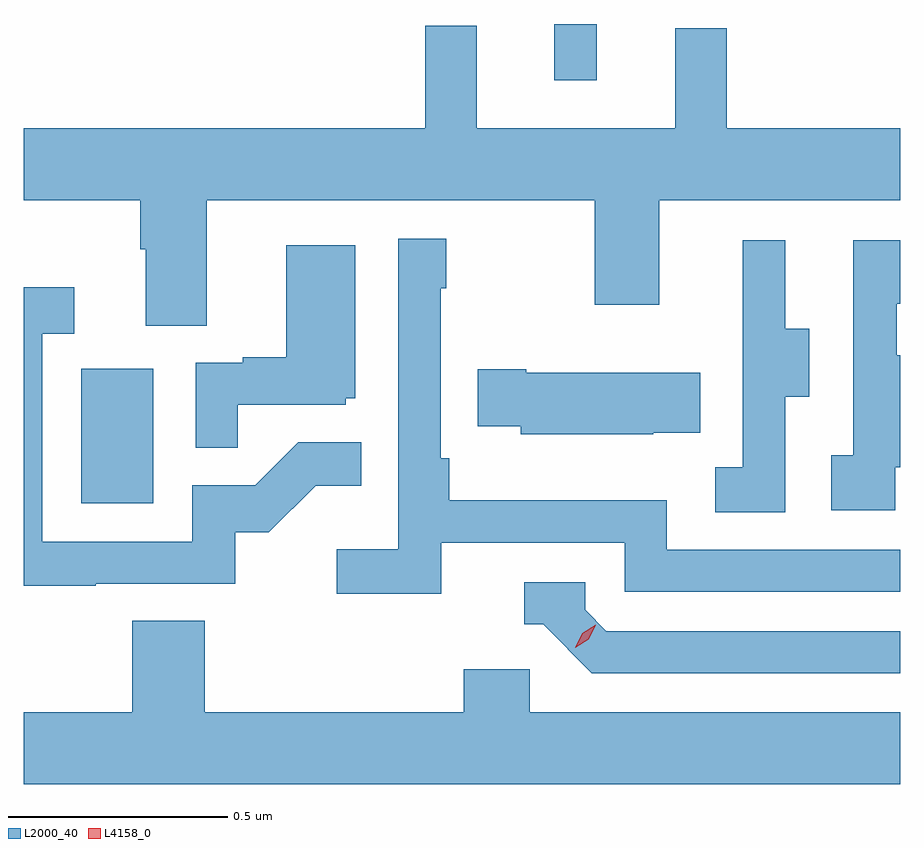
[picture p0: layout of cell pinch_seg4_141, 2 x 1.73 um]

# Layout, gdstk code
import gdstk
lib = gdstk.Library(unit=1e-6, precision=1e-09)
def R(c, l, rs):  # rectangles x0, y0, x1, y1
    for r in rs: c.add(gdstk.rectangle(r[:2], r[2:], *l))
def P(c, l, *ps):  # polygons
    for p in ps: c.add(gdstk.Polygon(p, *l))
L2000_40 = (2000, 40)
L4158_0 = (4158, 0)

pinch_seg4_141 = lib.new_cell('pinch_seg4_141')
R(pinch_seg4_141, L2000_40, [(1106.156,810.78,1106.32,811.087), (1107.236,811.746,1107.333,811.874)])
P(pinch_seg4_141, L2000_40, [(1106.443,811.472),(1107.328,811.472),(1107.328,811.233),(1107.475,811.233),(1107.475,811.472),(1108.025,811.472),(1108.025,811.636),(1107.629,811.636),(1107.629,811.864),(1107.512,811.864),(1107.512,811.636),(1107.059,811.636),(1107.059,811.87),(1106.941,811.87),(1106.941,811.636),(1106.025,811.636),(1106.025,811.472),(1106.291,811.472),(1106.291,811.36),(1106.303,811.36),(1106.303,811.186),(1106.443,811.186)],
  [(1106.978,810.69),(1107.396,810.69),(1107.396,810.579),(1108.025,810.579),(1108.025,810.675),(1107.492,810.675),(1107.492,810.787),(1106.996,810.787),(1106.996,810.883),(1106.976,810.883),(1106.976,811.271),(1106.989,811.271),(1106.989,811.384),(1106.88,811.384),(1106.88,810.676),(1106.739,810.676),(1106.739,810.574),(1106.978,810.574)],
  [(1107.762,811.024),(1107.817,811.024),(1107.817,811.179),(1107.763,811.179),(1107.763,811.381),(1107.665,811.381),(1107.665,811.167),(1107.666,811.167),(1107.666,810.863),(1107.603,810.863),(1107.603,810.76),(1107.762,810.76)],
  [(1108.014,810.863),(1108.025,810.863),(1108.025,811.118),(1108.017,811.118),(1108.017,811.236),(1108.025,811.236),(1108.025,811.381),(1107.918,811.381),(1107.918,810.89),(1107.867,810.89),(1107.867,810.765),(1108.014,810.765)],
  [(1106.513,811.005),(1106.76,811.005),(1106.76,811.02),(1106.782,811.02),(1106.782,811.369),(1106.624,811.369),(1106.624,811.114),(1106.525,811.114),(1106.525,811.101),(1106.418,811.101),(1106.418,810.907),(1106.513,810.907)],
  [(1106.189,810.597),(1106.508,810.597),(1106.508,810.714),(1106.584,810.714),(1106.691,810.821),(1106.795,810.821),(1106.795,810.92),(1106.651,810.92),(1106.553,810.822),(1106.409,810.822),(1106.409,810.693),(1106.067,810.693),(1106.067,811.167),(1106.14,811.167),(1106.14,811.273),(1106.025,811.273),(1106.025,810.592),(1106.189,810.592)],
  [(1107.461,810.941),(1107.569,810.941),(1107.569,811.078),(1107.172,811.078),(1107.172,811.086),(1107.061,811.086),(1107.061,810.956),(1107.159,810.956),(1107.159,810.938),(1107.461,810.938)],
  [(1108.025,810.489),(1107.354,810.489),(1107.306,810.537),(1107.306,810.6),(1107.167,810.6),(1107.167,810.504),(1107.21,810.504),(1107.321,810.393),(1108.025,810.393)],
  [(1108.025,810.304),(1107.18,810.304),(1107.18,810.402),(1107.029,810.402),(1107.029,810.304),(1106.438,810.304),(1106.438,810.512),(1106.273,810.512),(1106.273,810.304),(1106.025,810.304),(1106.025,810.14),(1108.025,810.14)])
P(pinch_seg4_141, L4158_0, [(1107.283,810.451),(1107.283,810.451),(1107.299,810.484),(1107.33,810.503),(1107.33,810.503),(1107.33,810.502),(1107.314,810.47),(1107.283,810.451)])

lib.write_gds('pinch_seg4_141.gds')
